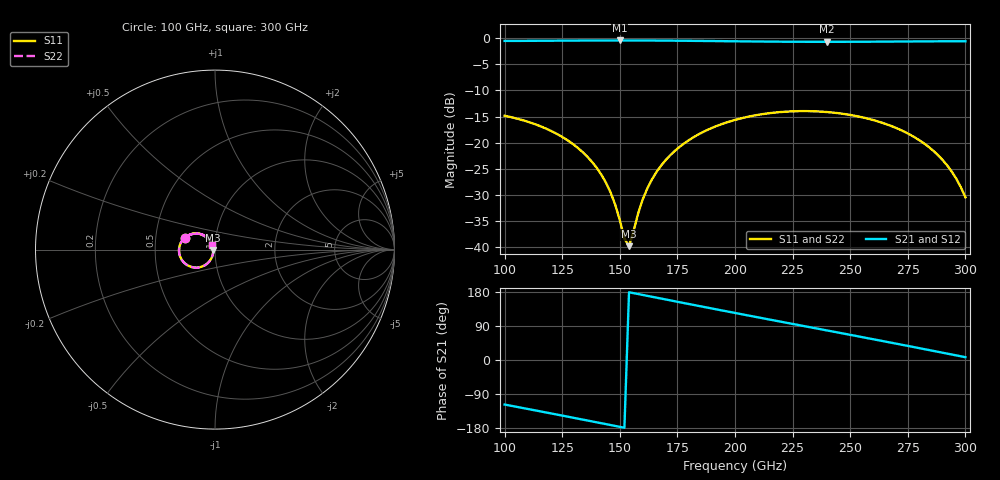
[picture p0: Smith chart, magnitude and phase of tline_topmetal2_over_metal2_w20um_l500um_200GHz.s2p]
#  GHZ S DB R 50
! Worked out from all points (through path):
!   101 points, 100 GHz to 300 GHz, reference 50 ohm
!   highest |S21| = -0.42 dB at 150 GHz (marker M1); lowest = -0.7 dB at 240 GHz (marker M2)
!   group delay of S21, straight-line fit = 3.26 ps
!   lowest |S11| = -39.8 dB at 154 GHz (marker M3), VSWR 1.02, Z = 49 - j0.212 ohm
!   |S11| at or under -10 dB: start of sweep to end of sweep
!   |S22| runs from -40.1 to -13.9 dB; largest |S21 - S12| = 1.1e-14
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100  -14.85 158.7  -0.51 -117.6  -0.51 -117.6  -14.85 158.8
120  -17.71 136.7  -0.47 -140.8  -0.47 -140.8  -17.71 136.8
134  -21.86 123.0  -0.44 -157.3  -0.44 -157.3  -21.86 123.0
144  -27.67 118.1  -0.42 -169.3  -0.42 -169.3  -27.69 117.9
148  -31.86 122.5  -0.42 -174.0  -0.42 -174.0  -31.91 122.0
150  -34.84 130.7  -0.42 -176.4  -0.42 -176.4  -34.93 130.0
152  -38.38 151.1  -0.42 -178.8  -0.42 -178.8  -38.59 150.4
154  -39.82 -167.8  -0.42 178.8  -0.42 178.8  -40.11 -167.1
160  -30.81 -115.3  -0.43 171.6  -0.43 171.6  -30.84 -114.4
164  -26.99 -112.6  -0.44 166.8  -0.44 166.8  -27.00 -111.9
168  -24.35 -113.8  -0.44 162.0  -0.44 162.0  -24.35 -113.3
182  -18.95 -125.8  -0.50 145.4  -0.50 145.4  -18.95 -125.3
200  -15.64 -144.9  -0.58 124.2  -0.58 124.2  -15.64 -144.4
218  -14.20 -164.6  -0.65 103.3  -0.65 103.3  -14.20 -164.1
234  -13.98 178.0  -0.68 84.8  -0.68 84.8  -13.98 178.5
240  -14.13 171.4  -0.68 77.9  -0.68 77.9  -14.13 171.9
254  -15.02 156.3  -0.67 61.7  -0.67 61.7  -15.01 156.9
268  -16.84 141.5  -0.63 45.4  -0.63 45.4  -16.83 142.2
280  -19.52 129.7  -0.60 31.3  -0.60 31.3  -19.51 130.6
288  -22.34 123.2  -0.58 21.7  -0.58 21.7  -22.31 124.3
294  -25.49 120.7  -0.58 14.6  -0.58 14.6  -25.43 122.2
300  -30.46 125.6  -0.57 7.4  -0.57 7.4  -30.30 127.7
